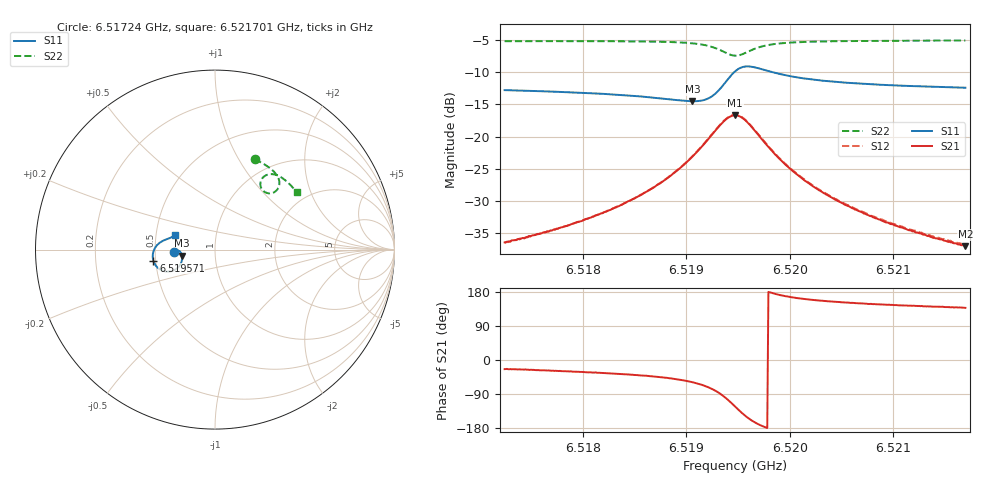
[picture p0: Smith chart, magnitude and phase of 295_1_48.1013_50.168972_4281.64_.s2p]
#  HZ  S  RI  R  50.00
! Rohde & Schwarz Vector Network Analyzer
! Rohde-Schwarz,ZNB20-2Port,1311601062101988,3.16
! Created: UTC 12/23/2023, 4:04:10 AM
! freq[Hz]  re:S11  im:S11  re:S21  im:S21  re:S12  im:S12  re:S22  im:S22
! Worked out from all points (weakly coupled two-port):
!   401 points, 6.51724 GHz to 6.521701 GHz, reference 50 ohm
!   highest |S21| = -16.71 dB at 6.519471 GHz (marker M1); lowest = -37.0 dB at 6.521701 GHz (marker M2)
!   lowest |S11| = -14.5 dB at 6.519058 GHz (marker M3), VSWR 1.46, Z = 34.4 - j2.38 ohm
!   |S11| at or under -10 dB: start of sweep to 6.519464 GHz; 6.51983 GHz to end of sweep
!   |S22| runs from -7.5 to -5.1 dB; largest |S21 - S12| = 0.0045
!   S11 on the Smith chart (normalised r, x): 6.51724 GHz: 0.63, -0.02; 6.519571 GHz: 0.49, -0.07; 6.521701 GHz: 0.63, +0.11
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6.5172399e9  -0.2287 -0.012  0.0138 -0.00617  0.0139 -0.0055  0.2202 0.5027
6.517608e9  -0.2242 -0.00698  0.016 -0.0082  0.0161 -0.00769  0.2474 0.4902
6.5179872e9  -0.2183 -0.00298  0.0189 -0.0115  0.0193 -0.011  0.2754 0.4748
6.5183664e9  -0.21 -0.00195  0.0234 -0.0178  0.0242 -0.0169  0.3037 0.456
6.5187345e9  -0.1982 -0.0079  0.0303 -0.0302  0.0315 -0.0295  0.3324 0.4304
6.5189018e9  -0.1911 -0.0167  0.0342 -0.0415  0.0356 -0.0408  0.3454 0.4132
6.5190579e9  -0.1845 -0.0334  0.0364 -0.0595  0.0384 -0.0588  0.3559 0.3906
6.5191694e9  -0.1838 -0.055  0.0334 -0.0805  0.0362 -0.0801  0.3586 0.3674
6.5192475e9  -0.19 -0.0772  0.0243 -0.1004  0.0277 -0.1005  0.354 0.3466
6.5193033e9  -0.2025 -0.0959  0.0106 -0.1163  0.0142 -0.1169  0.344 0.3309
6.5193814e9  -0.2374 -0.1189  -0.0241 -0.1333  -0.0203 -0.135  0.3164 0.3145
6.5194706e9  -0.2987 -0.1147  -0.0786 -0.1231  -0.0756 -0.1265  0.2738 0.3231
6.5195152e9  -0.325 -0.095  -0.0998 -0.103  -0.0977 -0.1067  0.2588 0.3405
6.519571e9  -0.3436 -0.0617  -0.1125 -0.0719  -0.1114 -0.0757  0.2526 0.3666
6.5196825e9  -0.3407 -0.00413  -0.1037 -0.0229  -0.104 -0.0261  0.2701 0.4045
6.5198052e9  -0.3188 0.0289  -0.0811 0.00174  -0.0819 -0.000567  0.2987 0.4191
6.520006e9  -0.2895 0.0493  -0.0544 0.0134  -0.0554 0.0119  0.3343 0.418
6.5202179e9  -0.2708 0.0572  -0.0387 0.0151  -0.0396 0.0142  0.3599 0.4079
6.5205302e9  -0.2542 0.0633  -0.0262 0.014  -0.0271 0.0134  0.3872 0.39
6.5209652e9  -0.2405 0.0696  -0.0175 0.0119  -0.0182 0.0117  0.4164 0.3639
6.521389e9  -0.2311 0.0753  -0.0127 0.0103  -0.0133 0.0102  0.4401 0.3378
6.5217013e9  -0.2254 0.0795  -0.0104 0.00951  -0.0109 0.00937  0.4557 0.3185
